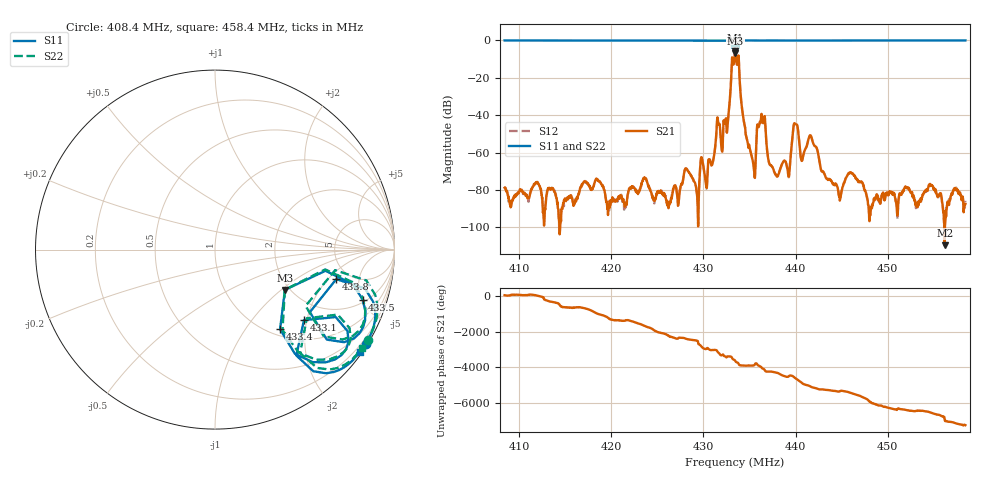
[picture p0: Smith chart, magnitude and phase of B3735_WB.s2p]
! Matrix data file written by TouchstoneData, EPCOS AG
! FILENAME: "B3735_WB.s2p"
! COMMENT: "PORTEX1 93PS;PORTEX2 179.5PS;  4 May 2007 S1"
! INFO: nport=2, nfreq=1601
! DATE: "Tue May 22 16:18:46 2007"
! USER: "Wilfried Schott"
! port | pin | signal
!  1  |  1  |  input
!  2  |  4  |  output
# MHZ S MA R 50
! freq  magS11 angS11  magS21 angS21  magS12 angS12  magS22 angS22
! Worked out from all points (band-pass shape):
!   1601 points, 408.4 MHz to 458.4 MHz, reference 50 ohm
!   highest |S21| = -5.49 dB at 433.5 MHz (marker M1); lowest = -109.6 dB at 456.2 MHz (marker M2)
!   |S21| within 3 dB of the highest: 433.3836 MHz to 433.5136 MHz (130 kHz wide, 0.03 % of centre); 433.7862 MHz to 433.805 MHz (18.77 kHz wide, 0.00433 % of centre)
!   lowest |S11| = -6.9 dB at 433.5 MHz (marker M3), VSWR 2.63, Z = 94.3 - j53 ohm
!   |S11| at or under -10 dB: nowhere
!   |S22| runs from -7.0 to -0.1 dB; largest |S21 - S12| = 0.0022
!   S11 on the Smith chart (normalised r, x): 408.4 MHz: 0.06, -3.50; 433.1 MHz: 1.47, -1.92; 433.4 MHz: 1.11, -1.47; 433.5 MHz: 2.26, -5.12; 433.8 MHz: 3.91, -2.49; 458.4 MHz: 0.05, -3.14
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408.42  0.9912 -31.9  0.0001153 43.9  0.0001194 45.1  0.9889 -30.5
416.7638  0.991 -32.6  0.0001272 73.6  0.0001242 72.6  0.9888 -31.2
425.1075  0.9908 -33.5  9.472e-05 129.9  8.375e-05 129.4  0.9883 -32.0
430.2638  0.9904 -34.6  0.0001537 -88.9  0.000146 -90.0  0.9876 -33.1
431.545  0.9826 -35.5  0.007873 104.8  0.007838 105.0  0.9806 -34.0
432.545  0.985 -37.8  0.003422 -163.7  0.00341 -163.7  0.9824 -36.3
433.1075  0.6325 -38.4  0.349 124.8  0.3482 125.0  0.6387 -36.8
433.42  0.573 -50.8  0.4678 -9.1  0.4666 -8.9  0.5849 -50.0
433.4513  0.4496 -29.9  0.5318 -35.6  0.5312 -35.4  0.449 -29.9
433.545  0.8685 -18.7  0.3051 -96.5  0.3042 -96.3  0.863 -17.8
433.8263  0.6956 -13.7  0.3381 133.9  0.3368 134.0  0.679 -9.7
435.42  0.9907 -32.0  0.0004766 70.6  0.000477 70.7  0.9882 -30.5
436.42  0.9876 -32.5  0.006594 -101.7  0.00657 -101.4  0.9843 -31.0
437.92  0.9884 -33.2  0.0002437 30.9  0.0002425 32.1  0.986 -31.7
439.2325  0.9867 -33.5  0.0002299 174.6  0.0002205 174.3  0.9842 -31.9
439.9513  0.9833 -33.5  0.005868 87.0  0.005845 87.3  0.9793 -31.9
440.7013  0.9866 -33.4  0.0006105 161.1  0.000612 161.3  0.9841 -31.9
441.7638  0.9877 -33.5  0.002326 -64.9  0.002322 -64.3  0.9837 -31.9
444.7638  0.9902 -34.0  6.788e-05 62.6  6.409e-05 59.8  0.987 -32.5
450.1075  0.9902 -34.6  7.857e-05 -141.0  7.918e-05 -142.5  0.9871 -33.0
456.17  0.9903 -35.1  3.326e-06 -77.2  3.165e-06 126.1  0.987 -33.5
458.42  0.9909 -35.3  4.256e-05 -31.0  5.175e-05 -23.7  0.9873 -33.7
